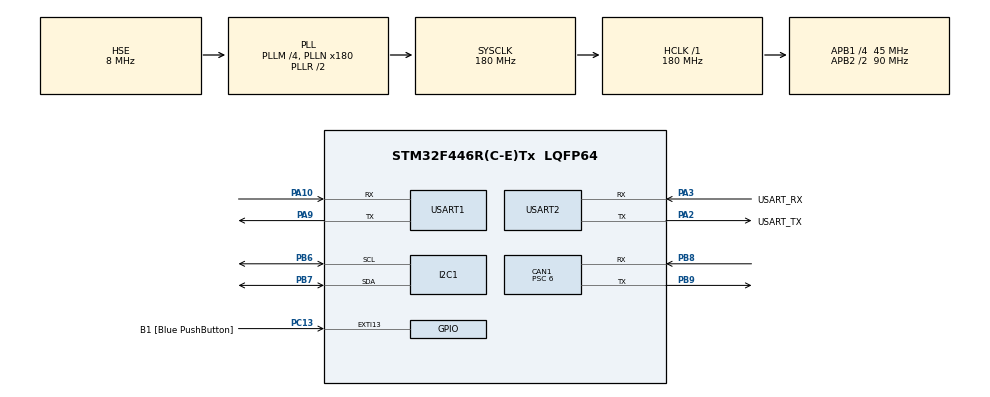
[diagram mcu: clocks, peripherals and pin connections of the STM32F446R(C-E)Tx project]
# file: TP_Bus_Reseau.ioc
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CAN1.BS1=CAN_BS1_12TQ
CAN1.BS2=CAN_BS2_2TQ
CAN1.CalculateBaudRate=500000
CAN1.CalculateTimeBit=2000
CAN1.CalculateTimeQuantum=133.33333333333331
CAN1.Prescaler=6
CAN1.SJW=CAN_SJW_4TQ
Mcu.Family=STM32F4
Mcu.Name=STM32F446R(C-E)Tx
Mcu.Package=LQFP64
NVIC.PriorityGroup=NVIC_PRIORITYGROUP_0
PA10.Mode=Asynchronous
PA10.Signal=USART1_RX
PA13.GPIO_Label=TMS
PA13.Mode=Serial_Wire
PA13.Signal=SYS_JTMS-SWDIO
PA14.GPIO_Label=TCK
PA14.Mode=Serial_Wire
PA14.Signal=SYS_JTCK-SWCLK
PA2.GPIO_Label=USART_TX
PA2.Mode=Asynchronous
PA2.Signal=USART2_TX
PA3.GPIO_Label=USART_RX
PA3.Mode=Asynchronous
PA3.Signal=USART2_RX
PA9.Mode=Asynchronous
PA9.Signal=USART1_TX
PB6.Mode=I2C
PB6.Signal=I2C1_SCL
PB7.Mode=I2C
PB7.Signal=I2C1_SDA
PB8.Mode=CAN_Activate
PB8.Signal=CAN1_RX
PB9.Mode=CAN_Activate
PB9.Signal=CAN1_TX
PC13.GPIO_Label=B1 [Blue PushButton]
PC13.GPIO_ModeDefaultEXTI=GPIO_MODE_IT_FALLING
PC13.Signal=GPXTI13
PC14-OSC32_IN.Mode=LSE-External-Oscillator
PC14-OSC32_IN.Signal=RCC_OSC32_IN
PC15-OSC32_OUT.Mode=LSE-External-Oscillator
PC15-OSC32_OUT.Signal=RCC_OSC32_OUT
PH0-OSC_IN.Mode=HSE-External-Oscillator
PH0-OSC_IN.Signal=RCC_OSC_IN
PH1-OSC_OUT.Mode=HSE-External-Oscillator
PH1-OSC_OUT.Signal=RCC_OSC_OUT
ProjectManager.HeapSize=0x200
ProjectManager.StackSize=0x400
ProjectManager.TargetToolchain=STM32CubeIDE
RCC.48MHZClocksFreq_Value=84000000
RCC.AHBFreq_Value=180000000
RCC.APB1CLKDivider=RCC_HCLK_DIV4
RCC.APB1Freq_Value=45000000
RCC.APB1TimFreq_Value=90000000
RCC.APB2CLKDivider=RCC_HCLK_DIV2
RCC.APB2Freq_Value=90000000
RCC.APB2TimFreq_Value=180000000
RCC.CortexFreq_Value=180000000
RCC.FLatency-AdvancedSettings=FLASH_LATENCY_5
RCC.HCLKFreq_Value=180000000
RCC.HSE_VALUE=8000000
RCC.HSI_VALUE=16000000
RCC.PLLM=4
RCC.PLLN=180
RCC.PLLP=RCC_PLLP_DIV4
RCC.PLLSourceVirtual=RCC_PLLSOURCE_HSE
RCC.SYSCLKFreq_VALUE=180000000
RCC.SYSCLKSource=RCC_SYSCLKSOURCE_PLLRCLK
RCC.USBFreq_Value=180000000
RCC.VCOOutputFreq_Value=360000000
USART1.VirtualMode=VM_ASYNC
USART2.VirtualMode=VM_ASYNC
board=NUCLEO-F446RE

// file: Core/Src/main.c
/* USER CODE BEGIN Header */
/**
  ******************************************************************************
  * @file           : main.c
  * @brief          : Main program body
  ******************************************************************************
  * @attention
  *
  * Copyright (c) 2024 STMicroelectronics.
  * All rights reserved.
  *
  * This software is licensed under terms that can be found in the LICENSE file
  * in the root directory of this software component.
  * If no LICENSE file comes with this software, it is provided AS-IS.
  *
  ******************************************************************************
  */
/* USER CODE END Header */
#include "main.h"
#include "can.h"
#include "i2c.h"
#include "usart.h"
#include "gpio.h"

/* USER CODE BEGIN Includes */
#include "bmp280.h"
#include <stdio.h>
#include <stdlib.h>
/* USER CODE END Includes */

/* USER CODE BEGIN PV */
uint32_t nc_temp=0;
uint32_t nc_pres=0;
HAL_StatusTypeDef result;
int cons_temp=20;

double Kp = 10.0;
double Ki = 0.1;
double integral = 0.0;
double output = 0.0;
double max_integral = 50.0;

// Facteur de lissage (plus il est proche de 1, plus la sortie est lissée)
double smoothing_factor = 0.9;

/* USER CODE END PV */

void SystemClock_Config(void);

/* USER CODE BEGIN 0 */
int __io_putchar(int chr){
	HAL_UART_Transmit(&huart2, (uint8_t*)&chr, 1, HAL_MAX_DELAY);
//	HAL_UART_Transmit(&huart1, (uint8_t*)&chr, 1, HAL_MAX_DELAY);
	return chr;
}

// Fonction pour mettre à jour la sortie PI avec lissage
void updatePI(double varia) { // varia représente l'erreur
    // Limite anti-windup pour l'intégrale
    integral += varia;
    if (integral > max_integral) integral = max_integral;
    if (integral < -max_integral) integral = -max_integral;

    double raw_output = Kp * varia + Ki * integral;

    output = smoothing_factor * output + (1 - smoothing_factor) * raw_output;

}
/* USER CODE END 0 */

int main(void)
{

  /* USER CODE BEGIN 1 */
	uint8_t aData[2]={0x54,0x00};
	CAN_TxHeaderTypeDef pHeader;
	uint32_t Mailbox;

	pHeader.StdId=0x61;
	pHeader.IDE=CAN_ID_STD;
	pHeader.RTR = CAN_RTR_DATA;
	pHeader.DLC=2;
	pHeader.TransmitGlobalTime=DISABLE;
  /* USER CODE END 1 */

  /* MCU Configuration--------------------------------------------------------*/

  /* Reset of all peripherals, Initializes the Flash interface and the Systick. */
  HAL_Init();

  /* Configure the system clock */
  SystemClock_Config();

  /* Initialize all configured peripherals */
  MX_GPIO_Init();
  MX_USART2_UART_Init();
  MX_I2C1_Init();
  MX_USART1_UART_Init();
  MX_CAN1_Init();
  /* USER CODE BEGIN 2 */
  HAL_CAN_Start(&hcan1);
  /* USER CODE END 2 */

  /* Infinite loop */
  /* USER CODE BEGIN WHILE */
  printf("=======TP RESEAU======== \r\n");

  // Début de connection avec le composant + Gestion d'erreurs

	if(checkID()==0){
		printf("Connection reussie\r\n");
	} else {
		printf("Erreur lors de la connection du composant\r\n");
	}

	// Début de configuration du composant avec gestion d'erreur

	if(BMP280_config()==0){
		printf("Configuration reussie\r\n");

	} else {
		printf("Erreur lors de la configuration du composant\r\n");
	}

	BMP_etalonage();

  while (1)
  {

	  double temp, pres;
	  int varia=0;

	  temp = bmp280_compensate_T_double((uint32_t)BMP_get_temp());
	  pres = bmp280_compensate_P_double((uint32_t)BMP_get_pres());

	  int temp_int = (int)(temp);
	  temp_int -= 5;
	  int pres_int = (int)(pres);

	  printf("Temperature: %d C, Pressure: %d hPa\r\n", temp_int, pres_int);

	  varia=temp_int-cons_temp;
	  if (varia>=0){
		  aData[1]=0x00;
	  }else if (varia<0){
		  aData[1]=0x01;
	  }

	  updatePI((double)varia);

	 // varia=varia*10;

	  printf("varia = %d\r\n",(int)output);

//	  if((int)output < 0){
//		  output += 180;
//	  }

	  aData[0]=(int)output;

  	  HAL_CAN_AddTxMessage(&hcan1,&pHeader,aData,&Mailbox);

	  result = HAL_UART_Transmit(&huart1, (uint8_t*)&temp_int, sizeof(temp_int), HAL_MAX_DELAY);

	  if (result == HAL_OK) {
	      // Transfert réussi
	      printf("Transmission reussie : %d\r\n", temp_int);
	  } else {
	      // Gestion de l'erreur
	      printf("Erreur de transmission\r\n");
	  }

	  HAL_Delay(10000);
    /* USER CODE END WHILE */

  }
}

void SystemClock_Config(void)
{
  RCC_OscInitTypeDef RCC_OscInitStruct = {0};
  RCC_ClkInitTypeDef RCC_ClkInitStruct = {0};

  /** Configure the main internal regulator output voltage
  */
  __HAL_RCC_PWR_CLK_ENABLE();
  __HAL_PWR_VOLTAGESCALING_CONFIG(PWR_REGULATOR_VOLTAGE_SCALE1);

  /** Initializes the RCC Oscillators according to the specified parameters
  * in the RCC_OscInitTypeDef structure.
  */
  RCC_OscInitStruct.OscillatorType = RCC_OSCILLATORTYPE_HSE;
  RCC_OscInitStruct.HSEState = RCC_HSE_ON;
  RCC_OscInitStruct.PLL.PLLState = RCC_PLL_ON;
  RCC_OscInitStruct.PLL.PLLSource = RCC_PLLSOURCE_HSE;
  RCC_OscInitStruct.PLL.PLLM = 4;
  RCC_OscInitStruct.PLL.PLLN = 180;
  RCC_OscInitStruct.PLL.PLLP = RCC_PLLP_DIV4;
  RCC_OscInitStruct.PLL.PLLQ = 2;
  RCC_OscInitStruct.PLL.PLLR = 2;
  if (HAL_RCC_OscConfig(&RCC_OscInitStruct) != HAL_OK)
  {
    Error_Handler();
  }

  /** Activate the Over-Drive mode
  */
  if (HAL_PWREx_EnableOverDrive() != HAL_OK)
  {
    Error_Handler();
  }

  /** Initializes the CPU, AHB and APB buses clocks
  */
  RCC_ClkInitStruct.ClockType = RCC_CLOCKTYPE_HCLK|RCC_CLOCKTYPE_SYSCLK
                              |RCC_CLOCKTYPE_PCLK1|RCC_CLOCKTYPE_PCLK2;
  RCC_ClkInitStruct.SYSCLKSource = RCC_SYSCLKSOURCE_PLLRCLK;
  RCC_ClkInitStruct.AHBCLKDivider = RCC_SYSCLK_DIV1;
  RCC_ClkInitStruct.APB1CLKDivider = RCC_HCLK_DIV4;
  RCC_ClkInitStruct.APB2CLKDivider = RCC_HCLK_DIV2;

  if (HAL_RCC_ClockConfig(&RCC_ClkInitStruct, FLASH_LATENCY_5) != HAL_OK)
  {
    Error_Handler();
  }
}

void Error_Handler(void)
{
  __disable_irq();
  while (1)
  {
  }
}
